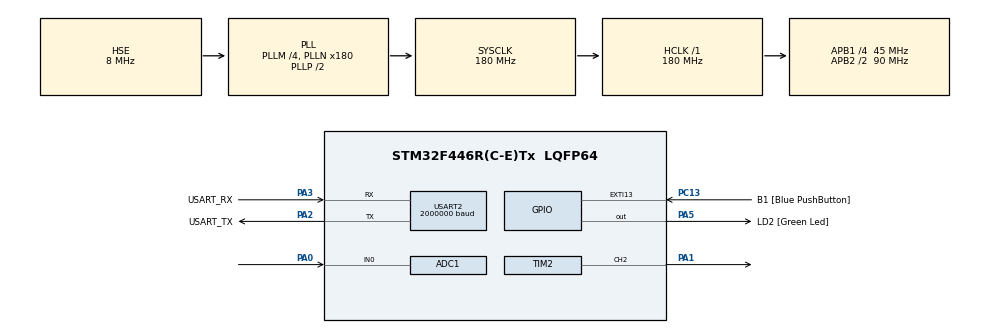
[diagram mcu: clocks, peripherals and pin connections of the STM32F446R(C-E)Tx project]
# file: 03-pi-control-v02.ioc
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ADC1.Channel-0\#ChannelRegularConversion=ADC_CHANNEL_0
ADC1.ClockPrescaler=ADC_CLOCK_SYNC_PCLK_DIV8
ADC1.ContinuousConvMode=ENABLE
ADC1.NbrOfConversionFlag=1
ADC1.Rank-0\#ChannelRegularConversion=1
ADC1.SamplingTime-0\#ChannelRegularConversion=ADC_SAMPLETIME_3CYCLES
ADC1.master=1
Dma.Request0=USART2_RX
Dma.Request1=USART2_TX
Dma.USART2_RX.0.Direction=DMA_PERIPH_TO_MEMORY
Dma.USART2_RX.0.FIFOMode=DMA_FIFOMODE_DISABLE
Dma.USART2_RX.0.Instance=DMA1_Stream5
Dma.USART2_RX.0.MemDataAlignment=DMA_MDATAALIGN_BYTE
Dma.USART2_RX.0.MemInc=DMA_MINC_ENABLE
Dma.USART2_RX.0.Mode=DMA_NORMAL
Dma.USART2_RX.0.PeriphDataAlignment=DMA_PDATAALIGN_BYTE
Dma.USART2_RX.0.PeriphInc=DMA_PINC_DISABLE
Dma.USART2_RX.0.Priority=DMA_PRIORITY_LOW
Dma.USART2_TX.1.Direction=DMA_MEMORY_TO_PERIPH
Dma.USART2_TX.1.FIFOMode=DMA_FIFOMODE_DISABLE
Dma.USART2_TX.1.Instance=DMA1_Stream6
Dma.USART2_TX.1.MemDataAlignment=DMA_MDATAALIGN_BYTE
Dma.USART2_TX.1.MemInc=DMA_MINC_ENABLE
Dma.USART2_TX.1.Mode=DMA_NORMAL
Dma.USART2_TX.1.PeriphDataAlignment=DMA_PDATAALIGN_BYTE
Dma.USART2_TX.1.PeriphInc=DMA_PINC_DISABLE
Dma.USART2_TX.1.Priority=DMA_PRIORITY_LOW
FREERTOS.Tasks01=defaultTask,0,128,StartDefaultTask,Default,NULL,Dynamic,NULL,NULL
Mcu.Family=STM32F4
Mcu.Name=STM32F446R(C-E)Tx
Mcu.Package=LQFP64
NVIC.DMA1_Stream5_IRQn=true\:5\:0\:false\:false\:true\:true\:false\:true\:true
NVIC.DMA1_Stream6_IRQn=true\:5\:0\:false\:false\:true\:true\:false\:true\:true
NVIC.PriorityGroup=NVIC_PRIORITYGROUP_4
NVIC.TIM7_IRQn=true\:15\:0\:false\:false\:true\:false\:false\:true\:true
NVIC.TimeBase=TIM7_IRQn
NVIC.TimeBaseIP=TIM7
NVIC.USART2_IRQn=true\:5\:0\:false\:false\:true\:true\:true\:true\:true
PA0-WKUP.Signal=ADCx_IN0
PA1.Signal=S_TIM2_CH2
PA13.GPIO_Label=TMS
PA13.Mode=Serial_Wire
PA13.Signal=SYS_JTMS-SWDIO
PA14.GPIO_Label=TCK
PA14.Mode=Serial_Wire
PA14.Signal=SYS_JTCK-SWCLK
PA2.GPIO_Label=USART_TX
PA2.Mode=Asynchronous
PA2.Signal=USART2_TX
PA3.GPIO_Label=USART_RX
PA3.Mode=Asynchronous
PA3.Signal=USART2_RX
PA5.GPIO_Label=LD2 [Green Led]
PA5.Signal=GPIO_Output
PB3.GPIO_Label=SWO
PB3.Signal=SYS_JTDO-SWO
PC13.GPIO_Label=B1 [Blue PushButton]
PC13.GPIO_ModeDefaultEXTI=GPIO_MODE_IT_FALLING
PC13.Signal=GPXTI13
PC14-OSC32_IN.Signal=RCC_OSC32_IN
PC15-OSC32_OUT.Signal=RCC_OSC32_OUT
PH0-OSC_IN.Mode=HSE-External-Oscillator
PH0-OSC_IN.Signal=RCC_OSC_IN
PH1-OSC_OUT.Mode=HSE-External-Oscillator
PH1-OSC_OUT.Signal=RCC_OSC_OUT
ProjectManager.HeapSize=0x200
ProjectManager.StackSize=0x400
ProjectManager.TargetToolchain=STM32CubeIDE
RCC.AHBFreq_Value=180000000
RCC.APB1CLKDivider=RCC_HCLK_DIV4
RCC.APB1Freq_Value=45000000
RCC.APB1TimFreq_Value=90000000
RCC.APB2CLKDivider=RCC_HCLK_DIV2
RCC.APB2Freq_Value=90000000
RCC.APB2TimFreq_Value=180000000
RCC.CortexFreq_Value=180000000
RCC.FLatency-AdvancedSettings=FLASH_LATENCY_5
RCC.HCLKFreq_Value=180000000
RCC.HSE_VALUE=8000000
RCC.HSI_VALUE=16000000
RCC.LSE_VALUE=32768
RCC.PLLM=4
RCC.PLLN=180
RCC.PLLSourceVirtual=RCC_PLLSOURCE_HSE
RCC.SYSCLKFreq_VALUE=180000000
RCC.SYSCLKSource=RCC_SYSCLKSOURCE_PLLCLK
RCC.USBFreq_Value=180000000
RCC.VCOOutputFreq_Value=360000000
SH.ADCx_IN0.0=ADC1_IN0,IN0
SH.S_TIM2_CH2.0=TIM2_CH2,PWM Generation2 CH2
TIM2.Channel-PWM\ Generation2\ CH2=TIM_CHANNEL_2
TIM2.Period=100-1
TIM2.Prescaler=90-1
TIM2.Pulse-PWM\ Generation2\ CH2=50
USART2.BaudRate=2000000
USART2.VirtualMode=VM_ASYNC
VP_FREERTOS_VS_CMSIS_V1.Mode=CMSIS_V1
VP_SYS_VS_tim7.Mode=TIM7
board=NUCLEO-F446RE

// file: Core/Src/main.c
/* USER CODE BEGIN Header */
/**
  ******************************************************************************
  * @file           : main.c
  * @brief          : Main program body
  ******************************************************************************
  * @attention
  *
  * Copyright (c) 2025 STMicroelectronics.
  * All rights reserved.
  *
  * This software is licensed under terms that can be found in the LICENSE file
  * in the root directory of this software component.
  * If no LICENSE file comes with this software, it is provided AS-IS.
  *
  ******************************************************************************
  */
/* USER CODE END Header */
#include "main.h"
 #include "cmsis_os.h"
//#include "FreeRTOS.h"

/* USER CODE BEGIN Includes */
#include "uart_driver_config.h"
#include "uart_driver.h"
#include "logging.h"
#include "fault_module.h"
#include "sample_commands.h"
#include "command_module.h"
#include "photocell.h"
#include "pwm.h"

/* USER CODE END Includes */

/* USER CODE BEGIN PD */
#define PID_SETPOINT 60.0f
float pid_setpoint = PID_SETPOINT;

/* USER CODE END PD */

ADC_HandleTypeDef hadc1;

TIM_HandleTypeDef htim2;

UART_HandleTypeDef huart2;
DMA_HandleTypeDef hdma_usart2_rx;
DMA_HandleTypeDef hdma_usart2_tx;

//osThreadId defaultTaskHandle;
/* USER CODE BEGIN PV */
uart_drv_t shared_uart;
PwmChannel_t pwm;
photoCell_t sensor;
// PID control parameters and state
volatile bool pid_enabled = false;
float pid_kp = 1.0f;
/* USER CODE END PV */

void SystemClock_Config(void);
static void MX_GPIO_Init(void);
static void MX_DMA_Init(void);
static void MX_USART2_UART_Init(void);
static void MX_ADC1_Init(void);
static void MX_TIM2_Init(void);
//void StartDefaultTask(void const * argument);

/* USER CODE BEGIN PFP */
//static void TestTask(void *arg);
static void PIDControlTask(void const *arg);

/* USER CODE END PFP */

int main(void)
{

  /* MCU Configuration--------------------------------------------------------*/

  /* Reset of all peripherals, Initializes the Flash interface and the Systick. */
  HAL_Init();

  /* Configure the system clock */
  SystemClock_Config();

  /* Initialize all configured peripherals */
  MX_GPIO_Init();
  MX_DMA_Init();
  MX_USART2_UART_Init();
  MX_ADC1_Init();
  MX_TIM2_Init();
  /* USER CODE BEGIN 2 */

  uart_init(&shared_uart, &huart2, &hdma_usart2_tx, &hdma_usart2_rx);
  log_init(&shared_uart);
  log_write(LOG_LEVEL_INFO, "Started");

  photoCell_init(sensor, true, min_value, max_value)

  Pwm_init(&pwm, &htim2, TIM_CHANNEL_2);
  Pwm_start(&pwm);

#if USE_CMD_INTERPRETER
  cmd_init(&shared_uart);
#endif

  /* USER CODE END 2 */

  /* Create the thread(s) */
  /* definition and creation of defaultTask */
//  osThreadDef(defaultTask, StartDefaultTask, osPriorityNormal, 0, 128);
//  defaultTaskHandle = osThreadCreate(osThread(defaultTask), NULL);

  /* USER CODE BEGIN RTOS_THREADS */
  /* add threads, ... */
//  osThreadDef(testTask, TestTask, osPriorityAboveNormal, 0, 256);
//  osThreadCreate(osThread(testTask), NULL);

     osThreadDef(PIDTask, PIDControlTask, osPriorityAboveNormal, 0, 256);
     osThreadCreate(osThread(PIDTask), NULL);

//  xTaskCreate(PIDControlTask, "PIDControl", 256, NULL, tskIDLE_PRIORITY + 1, NULL);

  /* USER CODE END RTOS_THREADS */

  /* Start scheduler */
   osKernelStart();
//  vTaskStartScheduler();

  /* We should never get here as control is now taken by the scheduler */

  /* Infinite loop */
  while (1)
  {

  }
}

void SystemClock_Config(void)
{
  RCC_OscInitTypeDef RCC_OscInitStruct = {0};
  RCC_ClkInitTypeDef RCC_ClkInitStruct = {0};

  /** Configure the main internal regulator output voltage
  */
  __HAL_RCC_PWR_CLK_ENABLE();
  __HAL_PWR_VOLTAGESCALING_CONFIG(PWR_REGULATOR_VOLTAGE_SCALE1);

  /** Initializes the RCC Oscillators according to the specified parameters
  * in the RCC_OscInitTypeDef structure.
  */
  RCC_OscInitStruct.OscillatorType = RCC_OSCILLATORTYPE_HSE;
  RCC_OscInitStruct.HSEState = RCC_HSE_ON;
  RCC_OscInitStruct.PLL.PLLState = RCC_PLL_ON;
  RCC_OscInitStruct.PLL.PLLSource = RCC_PLLSOURCE_HSE;
  RCC_OscInitStruct.PLL.PLLM = 4;
  RCC_OscInitStruct.PLL.PLLN = 180;
  RCC_OscInitStruct.PLL.PLLP = RCC_PLLP_DIV2;
  RCC_OscInitStruct.PLL.PLLQ = 2;
  RCC_OscInitStruct.PLL.PLLR = 2;
  if (HAL_RCC_OscConfig(&RCC_OscInitStruct) != HAL_OK)
  {
    Error_Handler();
  }

  /** Activate the Over-Drive mode
  */
  if (HAL_PWREx_EnableOverDrive() != HAL_OK)
  {
    Error_Handler();
  }

  /** Initializes the CPU, AHB and APB buses clocks
  */
  RCC_ClkInitStruct.ClockType = RCC_CLOCKTYPE_HCLK|RCC_CLOCKTYPE_SYSCLK
                              |RCC_CLOCKTYPE_PCLK1|RCC_CLOCKTYPE_PCLK2;
  RCC_ClkInitStruct.SYSCLKSource = RCC_SYSCLKSOURCE_PLLCLK;
  RCC_ClkInitStruct.AHBCLKDivider = RCC_SYSCLK_DIV1;
  RCC_ClkInitStruct.APB1CLKDivider = RCC_HCLK_DIV4;
  RCC_ClkInitStruct.APB2CLKDivider = RCC_HCLK_DIV2;

  if (HAL_RCC_ClockConfig(&RCC_ClkInitStruct, FLASH_LATENCY_5) != HAL_OK)
  {
    Error_Handler();
  }
}

static void MX_ADC1_Init(void)
{

  ADC_ChannelConfTypeDef sConfig = {0};

  /** Configure the global features of the ADC (Clock, Resolution, Data Alignment and number of conversion)
  */
  hadc1.Instance = ADC1;
  hadc1.Init.ClockPrescaler = ADC_CLOCK_SYNC_PCLK_DIV8;
  hadc1.Init.Resolution = ADC_RESOLUTION_12B;
  hadc1.Init.ScanConvMode = DISABLE;
  hadc1.Init.ContinuousConvMode = ENABLE;
  hadc1.Init.DiscontinuousConvMode = DISABLE;
  hadc1.Init.ExternalTrigConvEdge = ADC_EXTERNALTRIGCONVEDGE_NONE;
  hadc1.Init.ExternalTrigConv = ADC_SOFTWARE_START;
  hadc1.Init.DataAlign = ADC_DATAALIGN_RIGHT;
  hadc1.Init.NbrOfConversion = 1;
  hadc1.Init.DMAContinuousRequests = DISABLE;
  hadc1.Init.EOCSelection = ADC_EOC_SINGLE_CONV;
  if (HAL_ADC_Init(&hadc1) != HAL_OK)
  {
    Error_Handler();
  }

  /** Configure for the selected ADC regular channel its corresponding rank in the sequencer and its sample time.
  */
  sConfig.Channel = ADC_CHANNEL_0;
  sConfig.Rank = 1;
  sConfig.SamplingTime = ADC_SAMPLETIME_3CYCLES;
  if (HAL_ADC_ConfigChannel(&hadc1, &sConfig) != HAL_OK)
  {
    Error_Handler();
  }

}

static void MX_TIM2_Init(void)
{

  TIM_MasterConfigTypeDef sMasterConfig = {0};
  TIM_OC_InitTypeDef sConfigOC = {0};

  htim2.Instance = TIM2;
  htim2.Init.Prescaler = 90-1;
  htim2.Init.CounterMode = TIM_COUNTERMODE_UP;
  htim2.Init.Period = 100-1;
  htim2.Init.ClockDivision = TIM_CLOCKDIVISION_DIV1;
  htim2.Init.AutoReloadPreload = TIM_AUTORELOAD_PRELOAD_DISABLE;
  if (HAL_TIM_PWM_Init(&htim2) != HAL_OK)
  {
    Error_Handler();
  }
  sMasterConfig.MasterOutputTrigger = TIM_TRGO_RESET;
  sMasterConfig.MasterSlaveMode = TIM_MASTERSLAVEMODE_DISABLE;
  if (HAL_TIMEx_MasterConfigSynchronization(&htim2, &sMasterConfig) != HAL_OK)
  {
    Error_Handler();
  }
  sConfigOC.OCMode = TIM_OCMODE_PWM1;
  sConfigOC.Pulse = 50;
  sConfigOC.OCPolarity = TIM_OCPOLARITY_HIGH;
  sConfigOC.OCFastMode = TIM_OCFAST_DISABLE;
  if (HAL_TIM_PWM_ConfigChannel(&htim2, &sConfigOC, TIM_CHANNEL_2) != HAL_OK)
  {
    Error_Handler();
  }
  HAL_TIM_MspPostInit(&htim2);

}

static void MX_USART2_UART_Init(void)
{

  huart2.Instance = USART2;
  huart2.Init.BaudRate = 115200;
  huart2.Init.WordLength = UART_WORDLENGTH_8B;
  huart2.Init.StopBits = UART_STOPBITS_1;
  huart2.Init.Parity = UART_PARITY_NONE;
  huart2.Init.Mode = UART_MODE_TX_RX;
  huart2.Init.HwFlowCtl = UART_HWCONTROL_NONE;
  huart2.Init.OverSampling = UART_OVERSAMPLING_16;
  if (HAL_UART_Init(&huart2) != HAL_OK)
  {
    Error_Handler();
  }

}

static void MX_DMA_Init(void)
{

  /* DMA controller clock enable */
  __HAL_RCC_DMA1_CLK_ENABLE();

  /* DMA interrupt init */
  /* DMA1_Stream5_IRQn interrupt configuration */
  HAL_NVIC_SetPriority(DMA1_Stream5_IRQn, 5, 0);
  HAL_NVIC_EnableIRQ(DMA1_Stream5_IRQn);
  /* DMA1_Stream6_IRQn interrupt configuration */
  HAL_NVIC_SetPriority(DMA1_Stream6_IRQn, 5, 0);
  HAL_NVIC_EnableIRQ(DMA1_Stream6_IRQn);

}

static void MX_GPIO_Init(void)
{
  GPIO_InitTypeDef GPIO_InitStruct = {0};

  /* GPIO Ports Clock Enable */
  __HAL_RCC_GPIOC_CLK_ENABLE();
  __HAL_RCC_GPIOH_CLK_ENABLE();
  __HAL_RCC_GPIOA_CLK_ENABLE();
  __HAL_RCC_GPIOB_CLK_ENABLE();

  /*Configure GPIO pin Output Level */
  HAL_GPIO_WritePin(LD2_GPIO_Port, LD2_Pin, GPIO_PIN_RESET);

  /*Configure GPIO pin : B1_Pin */
  GPIO_InitStruct.Pin = B1_Pin;
  GPIO_InitStruct.Mode = GPIO_MODE_IT_FALLING;
  GPIO_InitStruct.Pull = GPIO_NOPULL;
  HAL_GPIO_Init(B1_GPIO_Port, &GPIO_InitStruct);

  /*Configure GPIO pin : LD2_Pin */
  GPIO_InitStruct.Pin = LD2_Pin;
  GPIO_InitStruct.Mode = GPIO_MODE_OUTPUT_PP;
  GPIO_InitStruct.Pull = GPIO_NOPULL;
  GPIO_InitStruct.Speed = GPIO_SPEED_FREQ_LOW;
  HAL_GPIO_Init(LD2_GPIO_Port, &GPIO_InitStruct);

}

/* USER CODE BEGIN 4 */
//static void TestTask(void *arg) {
//    TelemetryPacket pkt = {0};
//
//    for (;;) {
//        // Raise a test fault
//        static uint32_t faultCode = FAULT_OVERCURRENT;
//        fault_raise((FaultCode)faultCode);
//        log_write(LOG_LEVEL_INFO, "Raised fault: %s", fault_to_string((FaultCode)faultCode));
//
//        // Send a telemetry packet
//        pkt.sensor1++;
//        pkt.sensor2 += 0.5f;
//        telemetry_send(&pkt);
//
//        // Clear the fault after 50 ms
//        vTaskDelay(pdMS_TO_TICKS(50));
//        fault_clear((FaultCode)faultCode);
//        log_write(LOG_LEVEL_INFO, "Cleared fault: %s", fault_to_string((FaultCode)faultCode));
//
//        // Cycle fault code for next iteration
//        faultCode++;
//        if (faultCode >= FAULT_COUNT) faultCode = FAULT_OVERCURRENT;
//
//        // Wait 100 ms before next cycle
//        vTaskDelay(pdMS_TO_TICKS(100));
//    }
//}

void set_pwm_function(uint8_t brightness) {

	Pwm_setDuty(&pwm, (uint8_t)brightness);
}

static void PIDControlTask(void const *arg) {
    TelemetryPacket pkt = {0};
    photoCell_init(&sensor, true, 0, 4095);
    photoCell_autoCalibrate(&sensor, &hadc1, set_pwm_function);

    for (;;) {
        uint8_t level = readSensor(&sensor, &hadc1);
        float error = pid_setpoint - level;
        float duty  = pid_kp * error;

        if (pid_enabled) {
            if (duty < 0.0f) duty = 0.0f;
            if (duty > 100.0f) duty = 100.0f;
            Pwm_setDuty(&pwm, (uint8_t)duty);

            pkt.brightness = level;
            pkt.duty       = duty;

            telemetry_send(&pkt);
        }
        else {
            Pwm_setDuty(&pwm, 0);
        }
    }
}

/* USER CODE END 4 */

void HAL_TIM_PeriodElapsedCallback(TIM_HandleTypeDef *htim)
{
  if (htim->Instance == TIM7)
  {
    HAL_IncTick();
  }
}

void Error_Handler(void)
{
  __disable_irq();
  while (1)
  {
  }
}
